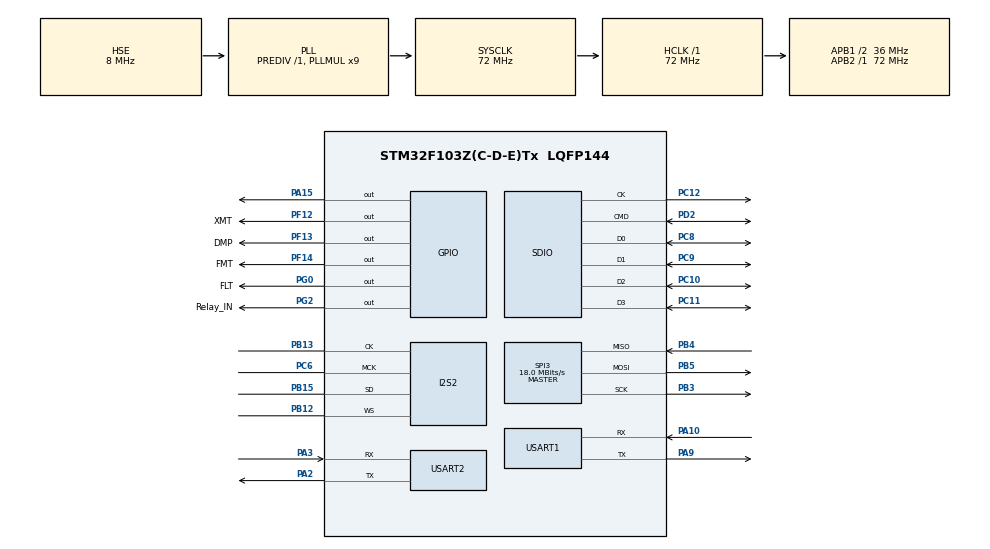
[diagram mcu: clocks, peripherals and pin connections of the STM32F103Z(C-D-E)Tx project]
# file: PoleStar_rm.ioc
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Dma.Request0=SPI2_TX
Dma.SPI2_TX.0.Direction=DMA_MEMORY_TO_PERIPH
Dma.SPI2_TX.0.Instance=DMA1_Channel5
Dma.SPI2_TX.0.MemDataAlignment=DMA_MDATAALIGN_HALFWORD
Dma.SPI2_TX.0.MemInc=DMA_MINC_ENABLE
Dma.SPI2_TX.0.Mode=DMA_CIRCULAR
Dma.SPI2_TX.0.PeriphDataAlignment=DMA_PDATAALIGN_HALFWORD
Dma.SPI2_TX.0.PeriphInc=DMA_PINC_DISABLE
Dma.SPI2_TX.0.Priority=DMA_PRIORITY_VERY_HIGH
FATFS._CODE_PAGE=1
FATFS._STRF_ENCODE=0
I2S2.ErrorAudioFreq=0.43 %
I2S2.Instance=SPI$Index
I2S2.MCLKOutput=I2S_MCLKOUTPUT_ENABLE
I2S2.RealAudioFreq=8.035 KHz
I2S2.VirtualMode=I2S_MODE_MASTER
Mcu.Family=STM32F1
Mcu.Name=STM32F103Z(C-D-E)Tx
Mcu.Package=LQFP144
NVIC.DMA1_Channel5_IRQn=true\:0\:0\:false\:false\:true\:false\:true\:true
NVIC.PriorityGroup=NVIC_PRIORITYGROUP_4
OSC_IN.Mode=HSE-External-Oscillator
OSC_IN.Signal=RCC_OSC_IN
OSC_OUT.Mode=HSE-External-Oscillator
OSC_OUT.Signal=RCC_OSC_OUT
PA10.Mode=Asynchronous
PA10.Signal=USART1_RX
PA13.Mode=Serial_Wire
PA13.Signal=SYS_JTMS-SWDIO
PA14.Mode=Serial_Wire
PA14.Signal=SYS_JTCK-SWCLK
PA15.Signal=GPIO_Output
PA2.Mode=Asynchronous
PA2.Signal=USART2_TX
PA3.Mode=Asynchronous
PA3.Signal=USART2_RX
PA9.Mode=Asynchronous
PA9.Signal=USART1_TX
PB12.Mode=Half_Duplex_Master_TX
PB12.Signal=I2S2_WS
PB13.Mode=Half_Duplex_Master_TX
PB13.Signal=I2S2_CK
PB15.Mode=Half_Duplex_Master_TX
PB15.Signal=I2S2_SD
PB3.Mode=Full_Duplex_Master
PB3.Signal=SPI3_SCK
PB4.Mode=Full_Duplex_Master
PB4.Signal=SPI3_MISO
PB5.Mode=Full_Duplex_Master
PB5.Signal=SPI3_MOSI
PC10.Mode=SD_4_bits_Wide_bus
PC10.Signal=SDIO_D2
PC11.Mode=SD_4_bits_Wide_bus
PC11.Signal=SDIO_D3
PC12.Mode=SD_4_bits_Wide_bus
PC12.Signal=SDIO_CK
PC6.Mode=Master_Clock_Activated
PC6.Signal=I2S2_MCK
PC8.Mode=SD_4_bits_Wide_bus
PC8.Signal=SDIO_D0
PC9.Mode=SD_4_bits_Wide_bus
PC9.Signal=SDIO_D1
PD2.Mode=SD_4_bits_Wide_bus
PD2.Signal=SDIO_CMD
PF12.GPIO_Label=XMT
PF12.GPIO_PuPd=GPIO_PULLDOWN
PF12.Signal=GPIO_Output
PF13.GPIO_Label=DMP
PF13.GPIO_PuPd=GPIO_PULLUP
PF13.Signal=GPIO_Output
PF14.GPIO_Label=FMT
PF14.GPIO_PuPd=GPIO_PULLDOWN
PF14.Signal=GPIO_Output
PG0.GPIO_Label=FLT
PG0.GPIO_PuPd=GPIO_PULLDOWN
PG0.Signal=GPIO_Output
PG2.GPIO_Label=Relay_IN
PG2.GPIO_PuPd=GPIO_PULLUP
PG2.Signal=GPIO_Output
ProjectManager.HeapSize=0x200
ProjectManager.StackSize=0x400
ProjectManager.TargetToolchain=Makefile
RCC.AHBFreq_Value=72000000
RCC.APB1CLKDivider=RCC_HCLK_DIV2
RCC.APB1Freq_Value=36000000
RCC.APB1TimFreq_Value=72000000
RCC.APB2Freq_Value=72000000
RCC.APB2TimFreq_Value=72000000
RCC.HCLKFreq_Value=72000000
RCC.PLLMUL=RCC_PLL_MUL9
RCC.PLLSourceVirtual=RCC_PLLSOURCE_HSE
RCC.SYSCLKFreq_VALUE=72000000
RCC.SYSCLKSource=RCC_SYSCLKSOURCE_PLLCLK
RCC.USBFreq_Value=72000000
SDIO.ClockDiv=4
SPI3.CalculateBaudRate=18.0 MBits/s
SPI3.Direction=SPI_DIRECTION_2LINES
SPI3.Mode=SPI_MODE_MASTER
SPI3.VirtualType=VM_MASTER
USART1.VirtualMode=VM_ASYNC
USART2.VirtualMode=VM_ASYNC
VP_FATFS_VS_SDIO.Mode=SDIO
board=custom

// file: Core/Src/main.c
/* USER CODE BEGIN Header */
/**
  ******************************************************************************
  * @file           : main.c
  * @brief          : Main program body
  ******************************************************************************
  * @attention
  *
  * Copyright (c) 2024 STMicroelectronics.
  * All rights reserved.
  *
  * This software is licensed under terms that can be found in the LICENSE file
  * in the root directory of this software component.
  * If no LICENSE file comes with this software, it is provided AS-IS.
  *
  ******************************************************************************
  */
/* USER CODE END Header */
#include "main.h"
#include "dma.h"
#include "fatfs.h"
#include "i2s.h"
#include "sdio.h"
#include "spi.h"
#include "usart.h"
#include "gpio.h"

/* USER CODE BEGIN Includes */
#include "stdio.h"
#include "string.h"
#include "stdlib.h"
#include "errno.h"
#include "ff.h"
#include "sys/unistd.h"
#include "impl_mqtt.h"
/* USER CODE END Includes */

void SystemClock_Config(void);

/* USER CODE BEGIN 0 */
#include "wave.h"

/* USER CODE END 0 */

int main(void)
{

  /* USER CODE BEGIN 1 */
	uint8_t res;

  /* USER CODE END 1 */

  /* MCU Configuration--------------------------------------------------------*/

  /* Reset of all peripherals, Initializes the Flash interface and the Systick. */
  HAL_Init();

  /* Configure the system clock */
  SystemClock_Config();

  /* Initialize all configured peripherals */
  MX_GPIO_Init();
  MX_DMA_Init();
  MX_SDIO_SD_Init();
  MX_USART1_UART_Init();
  MX_I2S2_Init();
  MX_USART2_UART_Init();
  MX_FATFS_Init();
  MX_SPI3_Init();
  /* USER CODE BEGIN 2 */
  W5100s_ChipInit();//初始化W5100s

// 定义MQTT代理IP地址
	uint8_t ip_broker[] = {10, 100, 115, 173};
	// 定义MQTT代理端口
	uint16_t port_broker = 1883;
	// 定义MQTT发送缓冲区``````````````````````````````````````````````````````````````````````````````````````````````````````````````````````````````````````````````````````````````````````````````````````````````````````````````````````````````````````````````````````````````````````````````````````````````````````````````````````````````````````````````````````````````````````````````````````````````````````````````````````````````````````````````````````````````````````````````````````````````````````````````````````````````````````````````````````````````````````````````````````````````````````````````〔筆畫〕〔筆畫〕`
	uint8_t buf_mqtt_send[1024];
	// 定义MAC地址
	uint8_t mac[6]={0x78, 0x83, 0x68, 0x88, 0x56, 0x72 };
	// 定义MQTT状态
	int mqtt_stat;

	// 定义MQTT订阅主题
	MQTTString sub_topic  = MQTTString_initializer;
	MQTTString sub_topic2 = MQTTString_initializer;
	MQTTString sub_topic3 = MQTTString_initializer;
	MQTTString sub_topic4 = MQTTString_initializer;
  MQTTString sub_topic5 = MQTTString_initializer;
  MQTTString sub_topic6 = MQTTString_initializer;
  MQTTString sub_topic7 = MQTTString_initializer;

	MQTTString sub_topics[8];
	// 定义MQTT订阅主题的QoS
	int nums_sub_topic_qoss[8] = {0,0,0,0,0,0,0};
	// 定义字符串
	char stpc_str[64] = {'t', 'c'};

	// 定义MQTT连接数据
	MQTTPacket_connectData conn_mqtt = MQTTPacket_connectData_initializer;
	// 设置遗嘱标志
	conn_mqtt.willFlag = 0;
	// 设置MQTT版本
	conn_mqtt.MQTTVersion = 3;
	// 设置客户端ID
	conn_mqtt.clientID.cstring = (char*)"dev_slimspark";
	// 设置用户名
	conn_mqtt.username.cstring = (char*)"";
	// 设置密码
	conn_mqtt.password.cstring = (char*)"";
	// 设置保活时间
	conn_mqtt.keepAliveInterval = 60;
	// 设置清理会话
	conn_mqtt.cleansession = 1;

	// 复制字符串
	memcpy(stpc_str, (char*)"subtopic", strlen("subtopic"));
	// 设置订阅主题
	sub_topic.cstring = stpc_str;
	sub_topics[0] = sub_topic;
	sub_topic2.cstring = "clock/clock/response";
	sub_topics[1] = sub_topic2;
	sub_topic3.cstring = "clock/work/request";
	sub_topics[2] = sub_topic3;
	sub_topic4.cstring = "clock/changeTime/request";
	sub_topics[3] = sub_topic4;
  sub_topic5.cstring = "clock/changeTime/response";
	sub_topics[4] = sub_topic5;
  sub_topic6.cstring = "clock/changeSection/request";
	sub_topics[5] = sub_topic6;
  sub_topic7.cstring = "clock/changeSection/response";
	sub_topics[6] = sub_topic7;

 if(retSD == 0){
		printf("MX_FATFS_Init OK\r\n");
		if(f_mount(&SDFatFS, (TCHAR const*)SDPath, 0) != FR_OK){
			printf("f_mount failed\r\n");
		}

	}
  				memset(buf_mqtt_send, 0, sizeof(buf_mqtt_send));

  /* USER CODE END 2 */

  /* Infinite loop */
  while (1)
  {

    /* USER CODE BEGIN 3 */
    // do_tcpc();//TCP客户端处理函数
    mqtt_stat = func_run_mqtt_tcpsock(2, ip_broker, port_broker, buf_mqtt_send, sizeof(buf_mqtt_send), &conn_mqtt);
		if(mqtt_stat >= MQTT_CONNOK)
		{
			if(mqtt_stat == MQTT_CONNOK)
			{
				memset(buf_mqtt_send, 0, sizeof(buf_mqtt_send));
				func_mqtt_client_subtopic_from_broker(2, buf_mqtt_send, sizeof(buf_mqtt_send), 4,	sub_topics, nums_sub_topic_qoss);

			}

		}
		HAL_Delay(500);

/**   	mqtt_stat = func_run_mqtt_tcpsock(2, ip_broker, port_broker, buf_mqtt_send, sizeof(buf_mqtt_send), &conn_mqtt);
      		memset(buf_mqtt_send, 0, sizeof(buf_mqtt_send));
		// 调用func_run_mqtt_tcpsock函数，参数为2，ip_broker，port_broker，buf_mqtt_send，sizeof(buf_mqtt_send)，conn_mqtt，返回mqtt_stat
		if(mqtt_stat >= MQTT_CONNOK)
		{
     // func_mqtt_client_recvmsg_from_broker(2, buf_mqtt_send, sizeof(buf_mqtt_send));
       // func_mqtt_client_ping_broker(&mqtt_stat, 2, buf_mqtt_send, sizeof(buf_mqtt_send));
			// 如果mqtt_stat等于MQTT_CONNOK，则执行以下代码

			if(mqtt_stat == MQTT_CONNOK)
			{
				// 如果mqtt_stat等于MQTT_CONNOK，则执行以下代码
				memset(buf_mqtt_send, 0, sizeof(buf_mqtt_send));
				// 将buf_mqtt_send清零
				func_mqtt_client_subtopic_from_broker(2, buf_mqtt_send, sizeof(buf_mqtt_send), 7,	sub_topics, nums_sub_topic_qoss);

				// 调用func_mqtt_client_subtopic_from_broker函数，参数为2，buf_mqtt_send，sizeof(buf_mqtt_send)，4，sub_topics，nums_sub_topic_qoss
			}

		}	*/
  }
  /* USER CODE END 3 */
}

void SystemClock_Config(void)
{
  RCC_OscInitTypeDef RCC_OscInitStruct = {0};
  RCC_ClkInitTypeDef RCC_ClkInitStruct = {0};
  RCC_PeriphCLKInitTypeDef PeriphClkInit = {0};

  /** Initializes the RCC Oscillators according to the specified parameters
  * in the RCC_OscInitTypeDef structure.
  */
  RCC_OscInitStruct.OscillatorType = RCC_OSCILLATORTYPE_HSE;
  RCC_OscInitStruct.HSEState = RCC_HSE_ON;
  RCC_OscInitStruct.HSEPredivValue = RCC_HSE_PREDIV_DIV1;
  RCC_OscInitStruct.HSIState = RCC_HSI_ON;
  RCC_OscInitStruct.PLL.PLLState = RCC_PLL_ON;
  RCC_OscInitStruct.PLL.PLLSource = RCC_PLLSOURCE_HSE;
  RCC_OscInitStruct.PLL.PLLMUL = RCC_PLL_MUL9;
  if (HAL_RCC_OscConfig(&RCC_OscInitStruct) != HAL_OK)
  {
    Error_Handler();
  }

  /** Initializes the CPU, AHB and APB buses clocks
  */
  RCC_ClkInitStruct.ClockType = RCC_CLOCKTYPE_HCLK|RCC_CLOCKTYPE_SYSCLK
                              |RCC_CLOCKTYPE_PCLK1|RCC_CLOCKTYPE_PCLK2;
  RCC_ClkInitStruct.SYSCLKSource = RCC_SYSCLKSOURCE_PLLCLK;
  RCC_ClkInitStruct.AHBCLKDivider = RCC_SYSCLK_DIV1;
  RCC_ClkInitStruct.APB1CLKDivider = RCC_HCLK_DIV2;
  RCC_ClkInitStruct.APB2CLKDivider = RCC_HCLK_DIV1;

  if (HAL_RCC_ClockConfig(&RCC_ClkInitStruct, FLASH_LATENCY_2) != HAL_OK)
  {
    Error_Handler();
  }
  PeriphClkInit.PeriphClockSelection = RCC_PERIPHCLK_I2S2;
  PeriphClkInit.I2s2ClockSelection = RCC_I2S2CLKSOURCE_SYSCLK;
  if (HAL_RCCEx_PeriphCLKConfig(&PeriphClkInit) != HAL_OK)
  {
    Error_Handler();
  }
}

/* USER CODE BEGIN 4 */

int _write(int file, char *data, int len)// printf重定向
{
   if ((file != STDOUT_FILENO) && (file != STDERR_FILENO))
   {
      errno = EBADF;
      return -1;
   }

   // arbitrary timeout 1000
   HAL_StatusTypeDef status =
      HAL_UART_Transmit(&huart1, (uint8_t*)data, len, 1000);

   // return # of bytes written - as best we can tell
   return (status == HAL_OK ? len : 0);
}

/* USER CODE END 4 */

void Error_Handler(void)
{
  /* USER CODE BEGIN Error_Handler_Debug */
  /* User can add his own implementation to report the HAL error return state */
  printf("Error_Handler\r\n");
  __disable_irq();
  while (1)
  {
  }
  /* USER CODE END Error_Handler_Debug */
}
